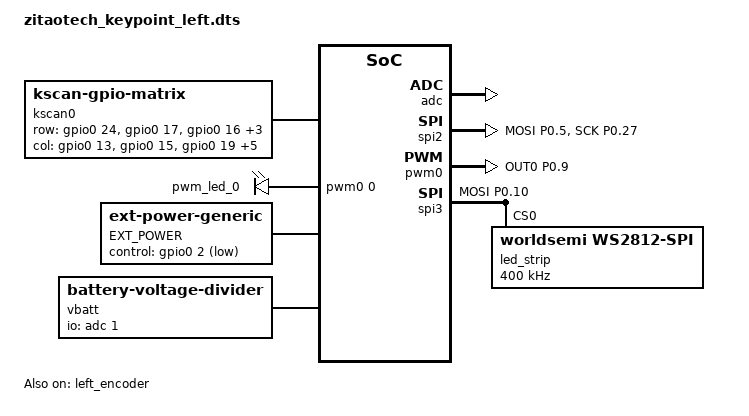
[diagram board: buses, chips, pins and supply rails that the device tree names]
/*
*
* Copyright (c) 2025 ZitaoTech
* SPDX-License-Identifier: MIT
*
*/
#include <dt-bindings/zmk/behaviors.h>
#include "zitaotech_keypoint.dtsi"
#include <zephyr/dt-bindings/input/input-event-codes.h>
#include <dt-bindings/zmk/keys.h>
#include <dt-bindings/zmk/input_transform.h>
#include <input/processors.dtsi>

/* Both numbers name layers declared in keypoint.keymap (POINTING and LOWER).
 * They are restated here because the keymap's #defines are not visible to this
 * board file; tests/test_pointing_layers.py parses both files and fails if they
 * ever disagree. A silent mismatch does not fail the build -- it just stops the
 * TrackPoint scrolling, or raises the wrong layer. */
#define TRACKPOINT_POINTING_LAYER 4
#define TRACKPOINT_POINTING_TIMEOUT_MS 700
#define TRACKPOINT_SCROLL_LAYER 1

/ {
    chosen {
        zmk,backlight = &backlight;
        zmk,battery = &vbatt;
        zmk,underglow = &led_strip;
    };
    kscan0: kscan {
        compatible = "zmk,kscan-gpio-matrix";
        diode-direction = "col2row";
        wakeup-source;
        row-gpios
            = <&gpio0 24 (GPIO_ACTIVE_HIGH | GPIO_PULL_DOWN)>
            , <&gpio0 17  (GPIO_ACTIVE_HIGH | GPIO_PULL_DOWN)>
            , <&gpio0 16 (GPIO_ACTIVE_HIGH | GPIO_PULL_DOWN)>
            , <&gpio1 8  (GPIO_ACTIVE_HIGH | GPIO_PULL_DOWN)>
            , <&gpio0 31  (GPIO_ACTIVE_HIGH | GPIO_PULL_DOWN)>
            , <&gpio0 29  (GPIO_ACTIVE_HIGH | GPIO_PULL_DOWN)>
            ;
        col-gpios
            = <&gpio0 13  GPIO_ACTIVE_HIGH>
            , <&gpio0 15  GPIO_ACTIVE_HIGH>
            , <&gpio0 19  GPIO_ACTIVE_HIGH>
            , <&gpio0 22 GPIO_ACTIVE_HIGH>
            , <&gpio0 20 GPIO_ACTIVE_HIGH>
            , <&gpio1 0 GPIO_ACTIVE_HIGH>
            , <&gpio0 28 GPIO_ACTIVE_HIGH>
            , <&gpio0 30 GPIO_ACTIVE_HIGH>
            ;
    };

    backlight: pwmleds {
        compatible = "pwm-leds";
        pwm_led_0 {
            pwms = <&pwm0 0 PWM_MSEC(10) PWM_POLARITY_NORMAL>;
        };
    };
    EXT_POWER {
        compatible = "zmk,ext-power-generic";
        control-gpios = <&gpio0 2 GPIO_ACTIVE_LOW>;
    };
    vbatt: vbatt {
        compatible = "zmk,battery-voltage-divider";
        io-channels = <&adc 1>;
        output-ohms = <2000000>;
        full-ohms = <2820000>;  // 2000000 + 820000
    };
};


&adc {
    status = "okay";
};

&gpiote {
    status = "okay";
};

&gpio0 {
    status = "okay";
};

&gpio1 {
    status = "okay";
};

&spi2 {
    status = "okay";
};

&pwm0 {
    status = "okay";
    pinctrl-0 = <&pwm0_default>;
    pinctrl-1 = <&pwm0_sleep>;
    pinctrl-names = "default", "sleep";
};


&left_encoder {
    status = "okay";
};


/ {
    split_inputs {
        #address-cells = <1>;
        #size-cells = <0>;

        trackpoint_split: trackpoint_split@0 {
            compatible = "zmk,input-split";
            reg = <0>;
        };
    };

};

/ {
    split_inputs {
        #address-cells = <1>;
        #size-cells = <0>;

        bbtrackpad_split: bbtrackpad_split@0 {
            compatible = "zmk,input-split";
            reg = <0>;
        };
    };

};

/ {
    split_inputs {
        #address-cells = <1>;
        #size-cells = <0>;

        bbtrackball_split: bbtrackball_split@0 {
            compatible = "zmk,input-split";
            reg = <0>;
        };
    };

};



/ {
    trackpoint_listener: trackpoint_listener {
        compatible = "zmk,input-listener";
        status = "disabled";
        device = <&trackpoint_split>;
    };
    bbtrackpad_listener: bbtrackpad_listener {
        compatible = "zmk,input-listener";
        status = "disabled";
        device = <&bbtrackpad_split>;
    };
    bbtrackball_listener: bbtrackball_listener {
        compatible = "zmk,input-listener";
        status = "disabled";
        device = <&bbtrackball_split>;
    };
};

&trackpoint_listener {
    status = "okay";
    input-processors =
        <&zip_temp_layer TRACKPOINT_POINTING_LAYER TRACKPOINT_POINTING_TIMEOUT_MS>;

    /* Hold-to-scroll for the TrackPoint. The right half only ever reports cursor
     * motion; the decision to scroll is made here, on the central, because it is
     * a *layer* decision -- and a layer-tap held to reach it sends nothing to the
     * host. The layer number must stay in step with LOWER in keypoint.keymap;
     * tests/test_pointing_layers.py enforces that.
     *
     * The Y invert is not a preference, it is the axis convention: REL_X and
     * HWHEEL are both positive-right, but REL_Y is positive-*down* while WHEEL
     * is positive-*up*. Remapping the code alone therefore lands vertical
     * scrolling backwards -- push up, page goes down -- and disagrees with the
     * trackpad, whose driver negates exactly this one axis for the same reason
     * (`INPUT_REL_WHEEL, -ticks.y` against an un-negated cursor Y in a320.c). */
    trackpoint_layer_1_scroll {
        layers = <TRACKPOINT_SCROLL_LAYER>;
        process-next;
        input-processors =
            <&zip_xy_to_scroll_mapper>,
            <&zip_scroll_transform INPUT_TRANSFORM_Y_INVERT>;
    };
};

/*&trackpoint_listener {
    status = "okay";
};
*/
&bbtrackpad_listener {
    status = "okay";
};

&bbtrackball_listener {
    status = "okay";
};

lpm_view_spi: &spi2 {
    compatible = "nordic,nrf-spim";
    pinctrl-0 = <&spi2_default>;
    pinctrl-1 = <&spi2_sleep>;
    pinctrl-names = "default", "sleep";
    cs-gpios = <&gpio0 12 (GPIO_ACTIVE_HIGH | GPIO_PULL_DOWN) >;
};

&spi3 {
    compatible = "nordic,nrf-spim";
    status = "okay";

    pinctrl-0 = <&spi3_default>;
    pinctrl-1 = <&spi3_sleep>;
    pinctrl-names = "default", "sleep";

    led_strip: ws2812@0 {
        compatible = "worldsemi,ws2812-spi";
        /* SPI */
        reg = <0>; /* ignored, but necessary for SPI bindings */
        spi-max-frequency = <400000>;
        /* WS2812 */
        chain-length = <1>; /* number of LEDs */
        spi-one-frame = <0x70>;
        spi-zero-frame = <0x40>;
        color-mapping = <LED_COLOR_ID_GREEN
                         LED_COLOR_ID_RED
                         LED_COLOR_ID_BLUE>;
    };
};

&pinctrl {
    pwm0_default:pwm0_default{
        group1{
            psels = <NRF_PSEL(PWM_OUT0, 0, 9)>; //  backlight, unreal
        };
    };

    pwm0_sleep: pwm0_sleep {
        group1 {
            psels = <NRF_PSEL(PWM_OUT0, 0, 9)>;
            bias-pull-down;
        };
    };
    spi2_default: spi2_default {
        group1 {
            psels = <NRF_PSEL(SPIM_MOSI, 0, 5)>,
            <NRF_PSEL(SPIM_SCK, 0, 27)>;
        };
    };
    spi2_sleep: spi2_sleep {
        group1 {
            psels = <NRF_PSEL(SPIM_MOSI, 0, 5)>,
            <NRF_PSEL(SPIM_SCK, 0, 27)>;
            low-power-enable;
        };
    };
    spi3_default: spi3_default {
        group1 {
            psels = <NRF_PSEL(SPIM_MOSI, 0, 10)>;    // Setting for RGB light, unreal
        };
    };

    spi3_sleep: spi3_sleep {
        group1 {
            psels = <NRF_PSEL(SPIM_MOSI, 0, 10)>;
            low-power-enable;
        };
    };
};
